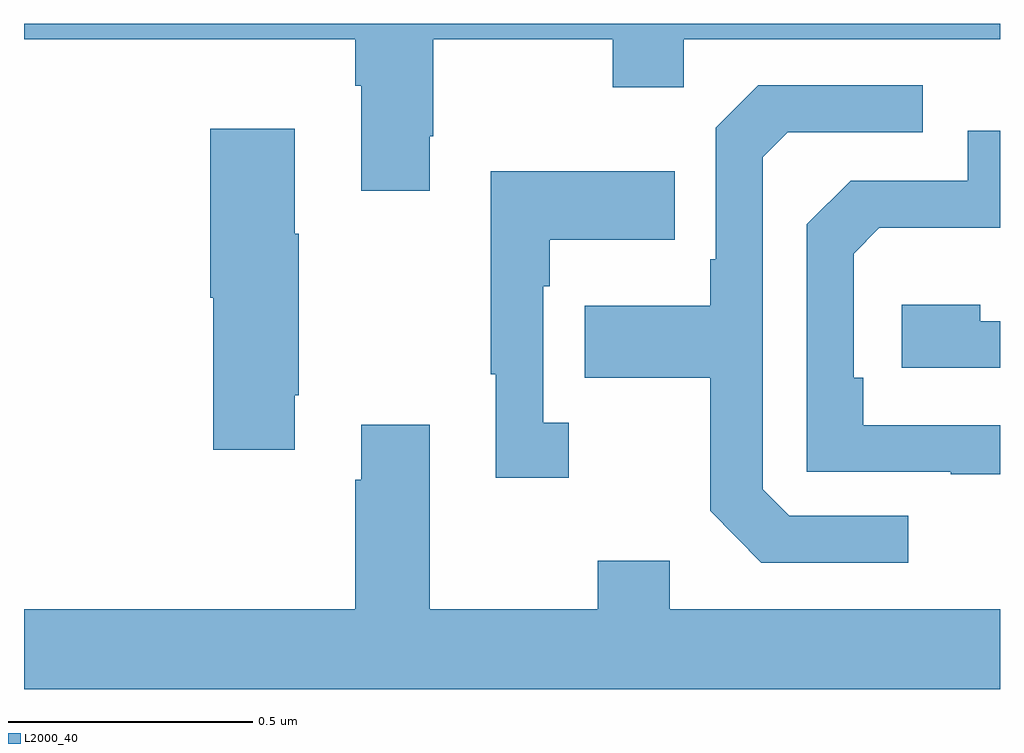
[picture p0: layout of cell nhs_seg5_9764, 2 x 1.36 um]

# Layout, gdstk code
import gdstk
lib = gdstk.Library(unit=1e-6, precision=1e-09)
def P(c, l, *ps):  # polygons
    for p in ps: c.add(gdstk.Polygon(p, *l))
L2000_40 = (2000, 40)

nhs_seg5_9764 = lib.new_cell('nhs_seg5_9764')
P(nhs_seg5_9764, L2000_40, [(238.831,848.569),(238.839,848.569),(238.839,848.768),(239.206,848.768),(239.206,848.669),(239.352,848.669),(239.352,848.768),(240,848.768),(240,848.799),(238,848.799),(238,848.768),(238.679,848.768),(238.679,848.672),(238.691,848.672),(238.691,848.457),(238.831,848.457)],
  [(239.812,847.791),(239.568,847.791),(239.514,847.845),(239.514,848.526),(239.565,848.577),(239.842,848.577),(239.842,848.673),(239.505,848.673),(239.418,848.586),(239.418,848.317),(239.406,848.317),(239.406,848.221),(239.149,848.221),(239.149,848.074),(239.406,848.074),(239.406,847.801),(239.511,847.695),(239.812,847.695)],
  [(238.555,848.038),(238.563,848.038),(238.563,848.369),(238.555,848.369),(238.555,848.584),(238.382,848.584),(238.382,848.238),(238.388,848.238),(238.388,847.926),(238.555,847.926)],
  [(240,847.977),(239.72,847.977),(239.72,848.074),(239.7,848.074),(239.7,848.328),(239.753,848.381),(240,848.381),(240,848.58),(239.934,848.58),(239.934,848.478),(239.694,848.478),(239.604,848.388),(239.604,847.881),(239.899,847.881),(239.899,847.876),(240,847.876)],
  [(239.116,847.982),(239.064,847.982),(239.064,848.261),(239.077,848.261),(239.077,848.357),(239.333,848.357),(239.333,848.497),(238.956,848.497),(238.956,848.081),(238.967,848.081),(238.967,847.869),(239.116,847.869)],
  [(240,848.19),(239.96,848.19),(239.96,848.224),(239.799,848.224),(239.799,848.094),(240,848.094)],
  [(240,847.6),(239.323,847.6),(239.323,847.699),(239.176,847.699),(239.176,847.6),(238.831,847.6),(238.831,847.978),(238.691,847.978),(238.691,847.865),(238.679,847.865),(238.679,847.6),(238,847.6),(238,847.436),(240,847.436)])

lib.write_gds('nhs_seg5_9764.gds')
